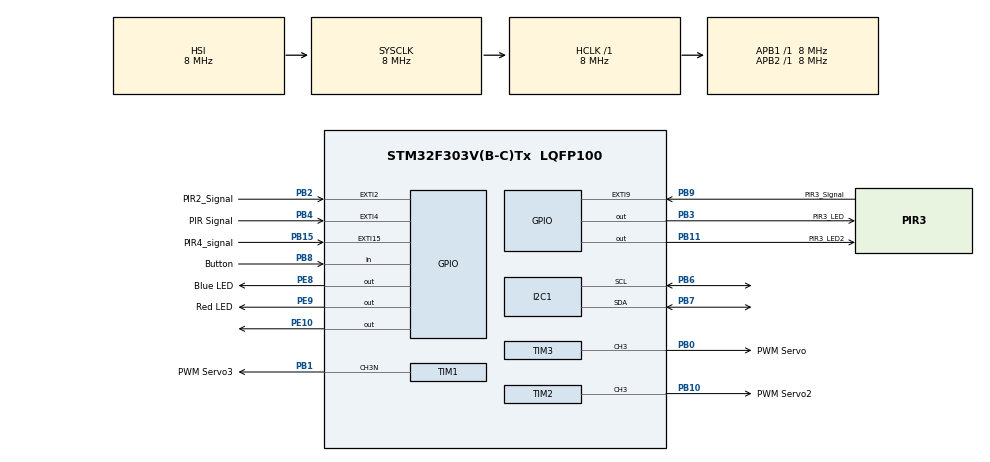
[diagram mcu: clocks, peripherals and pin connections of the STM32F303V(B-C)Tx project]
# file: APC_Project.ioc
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Mcu.Family=STM32F3
Mcu.Name=STM32F303V(B-C)Tx
Mcu.Package=LQFP100
NVIC.EXTI15_10_IRQn=true\:0\:0\:false\:false\:true\:true\:true\:true
NVIC.EXTI2_TSC_IRQn=true\:0\:0\:false\:false\:true\:true\:true\:true
NVIC.EXTI4_IRQn=true\:0\:0\:false\:false\:true\:true\:true\:true
NVIC.EXTI9_5_IRQn=true\:0\:0\:false\:false\:true\:true\:true\:true
NVIC.PriorityGroup=NVIC_PRIORITYGROUP_4
NVIC.TIM4_IRQn=true\:0\:0\:false\:false\:true\:true\:true\:true
NVIC.TIM6_DAC_IRQn=true\:0\:0\:false\:false\:true\:true\:true\:true
PB0.GPIO_Label=PWM Servo
PB0.Signal=S_TIM3_CH3
PB1.GPIO_Label=PWM Servo3
PB1.Mode=PWM Generation3 CH3N
PB1.Signal=TIM1_CH3N
PB10.GPIO_Label=PWM Servo2
PB10.Signal=S_TIM2_CH3
PB11.GPIO_Label=PIR3_LED2
PB11.Signal=GPIO_Output
PB15.GPIO_Label=PIR4_signal
PB15.Signal=GPXTI15
PB2.GPIO_Label=PIR2_Signal
PB2.Signal=GPXTI2
PB3.GPIO_Label=PIR3_LED
PB3.Signal=GPIO_Output
PB4.GPIO_Label=PIR Signal
PB4.Signal=GPXTI4
PB6.Mode=I2C
PB6.Signal=I2C1_SCL
PB7.Mode=I2C
PB7.Signal=I2C1_SDA
PB8.GPIO_Label=Button
PB8.GPIO_PuPd=GPIO_PULLUP
PB8.Signal=GPIO_Input
PB9.GPIO_Label=PIR3_Signal
PB9.GPIO_PuPd=GPIO_NOPULL
PB9.Signal=GPXTI9
PE10.Signal=GPIO_Output
PE8.GPIO_Label=Blue LED
PE8.GPIO_PuPd=GPIO_NOPULL
PE8.Signal=GPIO_Output
PE9.GPIO_Label=Red LED
PE9.Signal=GPIO_Output
ProjectManager.HeapSize=0x200
ProjectManager.StackSize=0x400
ProjectManager.TargetToolchain=STM32CubeIDE
RCC.AHBFreq_Value=8000000
RCC.APB1Freq_Value=8000000
RCC.APB2Freq_Value=8000000
RCC.CortexFreq_Value=8000000
RCC.HSE_VALUE=8000000
RCC.HSI_VALUE=8000000
RCC.LSE_VALUE=32768
RCC.SYSCLKFreq_VALUE=8000000
SH.S_TIM2_CH3.0=TIM2_CH3,PWM Generation3 CH3
SH.S_TIM3_CH3.0=TIM3_CH3,PWM Generation3 CH3
TIM1.Channel-PWM\ Generation3\ CH3N=TIM_CHANNEL_3
TIM1.Period=19999
TIM1.Prescaler=7
TIM2.Channel-PWM\ Generation3\ CH3=TIM_CHANNEL_3
TIM2.Period=19999
TIM2.Prescaler=7
TIM2.Pulse-PWM\ Generation3\ CH3=1000
TIM3.Channel-PWM\ Generation3\ CH3=TIM_CHANNEL_3
TIM3.Period=19999
TIM3.Prescaler=7
TIM3.Pulse-PWM\ Generation3\ CH3=1500
TIM4.AutoReloadPreload=TIM_AUTORELOAD_PRELOAD_ENABLE
TIM4.Period=1999
TIM4.Prescaler=7999
TIM6.Period=999
TIM6.Prescaler=199
VP_TIM3_VS_ClockSourceINT.Mode=Internal
VP_TIM4_VS_ClockSourceINT.Mode=Internal
VP_TIM6_VS_ClockSourceINT.Mode=Enable_Timer
board=custom

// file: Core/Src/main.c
/* USER CODE BEGIN Header */
/**
 ******************************************************************************
 * @file           : main.c
 * @brief          : Main program body - Museum Access Control System
 * @description    : This project implements an automated ticketing and access
 *                   control system for a museum using PIR motion sensors,
 *                   servo motors for turnstiles/gates, OLED display for user
 *                   feedback, LEDs for status indication, and a push button
 *                   for ticket purchase confirmation.
 *
 * @hardware       : STM32F303VCT6 Discovery Board
 *                   - PIR1 (PB4): Entrance sensor - detects visitors approaching (polled)
 *                   - PIR2 (PB2): Entry gate sensor - confirms visitor entry (EXTI2)
 *                   - PIR3 (PB9): Ambient lighting sensor - independent (EXTI9)
 *                   - PIR4 (PB15): Exit sensor - detects visitors leaving (EXTI15)
 *                   - Servo1 (PB0/TIM3_CH3): Ticket turnstile
 *                   - Servo2 (PB10/TIM2_CH3): Entry gate
 *                   - Servo3 (PB1/TIM1_CH3N): Exit gate
 *                   - SSD1306 OLED Display (I2C1: PB6/PB7)
 *                   - Blue LED (PE8): System idle/ready
 *                   - Red LED (PE9): Transaction in progress
 *                   - Green LED (PE10): Access granted
 *                   - PIR3_LED (PB3), PIR3_LED2 (PB11): Ambient lighting
 *                   - Button (PB8): Ticket purchase confirmation
 *
 * @features       : - Visitor counter with max capacity (4 visitors)
 *                   - Automatic ticket sales blocking when museum is full
 *                   - Smooth servo motor movements for gates
 *                   - Independent ambient lighting system
 *                   - Exit gate controlled entirely by TIM6 interrupt (15ms period)
 *
 * @authors        : Leonardo Catello, Salvatore Maione, Luisa Ciniglio, Roberta Granata
 * @version        : 1.2 - Fixed TIM6 timing for exit gate
 ******************************************************************************
 */
/* USER CODE END Header */
#include "main.h"
#include "i2c.h"
#include "tim.h"
#include "gpio.h"
#include "ssd1306.h"
#include "ssd1306_fonts.h"
#include <stdio.h>
/* USER CODE BEGIN Includes */

/* External timer handles - declared in tim.c
 * htim1: PWM timer for Servo3 (exit gate) on PB1, Channel 3N
 * htim2: PWM timer for Servo2 (entry gate) on PB10, Channel 3
 * htim3: PWM timer for Servo1 (ticket turnstile) on PB0, Channel 3
 * htim4: Base timer for PIR3 LED auto-off timeout (2 seconds)
 * htim6: Base timer for Servo3 movement control (15ms period) - NON-BLOCKING */
extern TIM_HandleTypeDef htim1;
extern TIM_HandleTypeDef htim2;
extern TIM_HandleTypeDef htim4;
extern TIM_HandleTypeDef htim6;

/* USER CODE END Includes */

/* USER CODE BEGIN PD */

/* LED Pin Definitions
 * Note: GREEN_LED (PE10) is configured in gpio.c but not named in CubeMX */
#define GREEN_LED_Pin GPIO_PIN_10       // Green LED on PE10 - indicates access granted
#define GREEN_LED_GPIO_Port GPIOE

/* PIR3_LED is already defined in main.h, redefined here for local clarity */
#define PIR3_LED_Pin GPIO_PIN_3         // PIR3 ambient lighting LED on PB3
#define PIR3_LED_GPIO_Port GPIOB

/* Museum capacity configuration */
#define MAX_VISITORS 4                  // Maximum number of visitors allowed in museum

/* USER CODE END PD */

/* USER CODE BEGIN PV */

/**
 * @brief Flag set by PIR2 interrupt to indicate visitor has entered through entry gate
 * @note  Volatile because it's modified in ISR and read in main loop
 */
volatile uint8_t secondPIR_triggered = 0;

/**
 * @brief State machine for exit gate operation (controlled by TIM6 interrupt every 15ms)
 */
typedef enum {
    EXIT_GATE_IDLE = 0,
    EXIT_GATE_OPENING,
    EXIT_GATE_OPEN,
    EXIT_GATE_CLOSING
} ExitGateState_t;

volatile ExitGateState_t exit_gate_state = EXIT_GATE_IDLE;
volatile uint16_t exit_gate_timer = 0;      // Counter for 5 second wait
volatile uint8_t exit_gate_angle = 0;       // Current servo angle

/**
 * @brief Current number of visitors inside the museum
 * @note  Incremented when visitor enters (Servo2), decremented when visitor exits (Servo3)
 *        When reaches MAX_VISITORS, ticket sales are blocked
 */
volatile uint8_t visitor_count = 0;

/* USER CODE END PV */

void SystemClock_Config(void);

/* USER CODE BEGIN 0 */

/** @brief Time in seconds for user to confirm ticket purchase */
#define COUNTDOWN_TIME 10

/**
 * @brief  Sets the servo motor to a specific angle
 * @param  htim: Pointer to the timer handle controlling the servo PWM
 * @param  channel: Timer channel (TIM_CHANNEL_3 or TIM_CHANNEL_4)
 * @param  angle: Desired angle in degrees (0-180)
 * @note   Maps angle (0-180°) to pulse width (500-2500µs) for SG90 servo
 *         Standard servo timing: 500µs = 0°, 1500µs = 90°, 2500µs = 180°
 *         Timer configuration (TIM2/TIM3):
 *         - Prescaler = 7 → Timer clock = 8MHz / 8 = 1MHz
 *         - Period = 19999 → PWM period = 20ms (50Hz)
 *         - Compare values 500-2500 directly map to µs
 * @retval None
 */
void Servo_SetAngle(TIM_HandleTypeDef *htim, uint32_t channel, uint8_t angle)
{
    /* Clamp angle to valid range */
    if (angle > 180) angle = 180;

    /* Calculate pulse width: linear mapping from 0-180° to 500-2500µs
     * Formula: pulse = 500 + (angle * 2000 / 180)
     * Using integer arithmetic to avoid floating point operations */
    uint32_t pulse = 500 + (angle * 2000 / 180);

    /* Set the PWM compare value to control servo position */
    __HAL_TIM_SET_COMPARE(htim, channel, pulse);
}

/**
 * @brief  External interrupt callback for GPIO pins
 * @param  GPIO_Pin: The pin that triggered the interrupt
 * @note   Handles interrupts from:
 *         - PIR2 (PB2, GPIO_PIN_2): Entry gate passage detection
 *         - PIR3 (PB9, GPIO_PIN_9): Ambient lighting activation
 *         - PIR4 (PB15, GPIO_PIN_15): Exit gate activation (only if visitors > 0)
 *         Note: PIR1 (PB4) is handled via polling in main loop
 * @retval None
 */
void HAL_GPIO_EXTI_Callback(uint16_t GPIO_Pin)
{
    /* PIR2 (PB2) - Detects visitor passing through entry gate after ticket purchase */
    if (GPIO_Pin == GPIO_PIN_2)
    {
        secondPIR_triggered = 1;
    }

    /* PIR3 (PB9) - Independent ambient lighting sensor
     * Turns on LEDs immediately and starts timer for auto-off */
    else if (GPIO_Pin == GPIO_PIN_9)
    {
        /* Turn on both ambient lighting LEDs */
        HAL_GPIO_WritePin(PIR3_LED_GPIO_Port, PIR3_LED_Pin, GPIO_PIN_SET);
        HAL_GPIO_WritePin(PIR3_LED2_GPIO_Port, PIR3_LED2_Pin, GPIO_PIN_SET);

        /* Reset and start TIM4 for LED timeout
         * TIM4 config: Prescaler=7999, Period=1999 → 2 second timeout
         * Calculation: 8MHz / 8000 = 1kHz; 2000 ticks / 1kHz = 2s */
        __HAL_TIM_SET_COUNTER(&htim4, 0);
        HAL_TIM_Base_Start_IT(&htim4);
    }

    /* PIR4 (PB15) - Exit sensor - activates exit gate servo ONLY IF VISITORS > 0 */
    else if (GPIO_Pin == GPIO_PIN_15)
    {
        /* Only activate exit if there are visitors inside and gate is idle */
        if (visitor_count > 0 && exit_gate_state == EXIT_GATE_IDLE)
        {
            exit_gate_state = EXIT_GATE_OPENING;
            exit_gate_angle = 0;

            // Start PWM and timer interrupt for servo control
            HAL_TIMEx_PWMN_Start(&htim1, TIM_CHANNEL_3);
            __HAL_TIM_SET_COUNTER(&htim6, 0);
            HAL_TIM_Base_Start_IT(&htim6);
        }
    }
}

/**
 * @brief  Timer period elapsed callback
 * @param  htim: Pointer to the timer handle that triggered the callback
 * @note   TIM4: Used to turn off ambient lighting LEDs after timeout (2s)
 *         TIM6: Used to control exit gate servo movement (15ms interrupts)
 *               - Opening: 0° → 180° in steps of 2° (90 steps × 15ms = 1.35s)
 *               - Wait: 333 interrupts × 15ms = 5 seconds
 *               - Closing: 180° → 0° in steps of 2° (90 steps × 15ms = 1.35s)
 * @retval None
 */
void HAL_TIM_PeriodElapsedCallback(TIM_HandleTypeDef *htim)
{
    /* TIM4 callback - Turn off ambient lighting LEDs after 2 second timeout */
    if (htim->Instance == TIM4)
    {
        HAL_GPIO_WritePin(PIR3_LED_GPIO_Port, PIR3_LED_Pin, GPIO_PIN_RESET);
        HAL_GPIO_WritePin(PIR3_LED2_GPIO_Port, PIR3_LED2_Pin, GPIO_PIN_RESET);
        HAL_TIM_Base_Stop_IT(&htim4);
    }

    /* TIM6 callback - Control exit gate servo movement (called every 15ms)
     * TIM6 Configuration: Prescaler=119, Period=999
     * Timer frequency: 8MHz / 120 = 66.67kHz
     * Interrupt period: 1000 / 66.67kHz = 15ms */
    else if (htim->Instance == TIM6)
    {
        switch (exit_gate_state)
        {
            case EXIT_GATE_IDLE:
                // Nothing to do - waiting for PIR4 trigger
                break;

            case EXIT_GATE_OPENING:
                // Gradually open gate: 0° → 180° in 2° steps
                exit_gate_angle += 2;
                if (exit_gate_angle >= 180)
                {
                    exit_gate_angle = 180;
                    exit_gate_state = EXIT_GATE_OPEN;
                    exit_gate_timer = 0;  // Reset counter for 5 second wait
                }
                Servo_SetAngle(&htim1, TIM_CHANNEL_3, exit_gate_angle);
                break;

            case EXIT_GATE_OPEN:
                // Wait 5 seconds with gate fully open
                exit_gate_timer++;
                if (exit_gate_timer >= 333)  // 333 × 15ms = 4995ms ≈ 5 seconds
                {
                    exit_gate_state = EXIT_GATE_CLOSING;
                }
                break;

            case EXIT_GATE_CLOSING:
                // Gradually close gate: 180° → 0° in 2° steps
                if (exit_gate_angle >= 2)
                {
                    exit_gate_angle -= 2;
                    Servo_SetAngle(&htim1, TIM_CHANNEL_3, exit_gate_angle);
                }
                else
                {
                    // Gate fully closed
                    exit_gate_angle = 0;
                    Servo_SetAngle(&htim1, TIM_CHANNEL_3, 0);
                    HAL_TIMEx_PWMN_Stop(&htim1, TIM_CHANNEL_3);
                    HAL_TIM_Base_Stop_IT(&htim6);  // Stop timer interrupt

                    // Decrement visitor counter
                    if (visitor_count > 0)
                    {
                        visitor_count--;
                    }

                    exit_gate_state = EXIT_GATE_IDLE;
                }
                break;
        }
    }
}

/**
 * @brief  Updates the display with current visitor count
 * @param  buffer: Character buffer for sprintf formatting
 * @retval None
 */
void Update_Display_Idle(char *buffer)
{
    ssd1306_Fill(Black);
    ssd1306_SetCursor(20, 5);
    ssd1306_WriteString("MUSEUM", Font_11x18, White);

    if (visitor_count >= MAX_VISITORS)
    {
        ssd1306_SetCursor(35, 28);
        ssd1306_WriteString("FULL", Font_11x18, White);
    }
    else
    {
        ssd1306_SetCursor(15, 28);
        ssd1306_WriteString("Welcome!", Font_11x18, White);
    }

    sprintf(buffer, "Visitors: %d/%d", visitor_count, MAX_VISITORS);
    ssd1306_SetCursor(15, 50);
    ssd1306_WriteString(buffer, Font_7x10, White);
    ssd1306_UpdateScreen();
}

/* USER CODE END 0 */

int main(void)
{

  /* USER CODE BEGIN 1 */
  uint8_t confirmed = 0;      /* Flag to track if ticket was confirmed */
  char buffer[32];            /* Buffer for sprintf display formatting */
  uint8_t last_visitor_count = 0; /* Track changes in visitor count */
  /* USER CODE END 1 */

  /* MCU Configuration--------------------------------------------------------*/

  /* Reset of all peripherals, Initializes the Flash interface and the Systick. */
  HAL_Init();

  /* Configure the system clock */
  SystemClock_Config();

  /* Initialize all configured peripherals */
  MX_GPIO_Init();
  MX_TIM3_Init();
  MX_I2C1_Init();
  MX_TIM2_Init();
  MX_TIM4_Init();
  MX_TIM1_Init();
  MX_TIM6_Init();
  /* USER CODE BEGIN 2 */

  /* ========== OLED Display Initialization ========== */
  ssd1306_Init();
  Update_Display_Idle(buffer);

  /* ========== LED Initial State ========== */
  /* Blue LED ON = System ready and waiting for visitors */
  HAL_GPIO_WritePin(GPIOE, Blue_LED_Pin, GPIO_PIN_SET);
  HAL_GPIO_WritePin(GPIOE, Red_LED_Pin, GPIO_PIN_RESET);
  HAL_GPIO_WritePin(GREEN_LED_GPIO_Port, GREEN_LED_Pin, GPIO_PIN_RESET);
  HAL_GPIO_WritePin(PIR3_LED_GPIO_Port, PIR3_LED_Pin, GPIO_PIN_RESET);
  HAL_GPIO_WritePin(PIR3_LED2_GPIO_Port, PIR3_LED2_Pin, GPIO_PIN_RESET);

  /* ========== Servo Motors Initialization ========== */
  /* Initialize Servo1 (ticket turnstile) to closed position (0°) - TIM3_CH3 */
  HAL_TIM_PWM_Start(&htim3, TIM_CHANNEL_3);
  Servo_SetAngle(&htim3, TIM_CHANNEL_3, 0);
  HAL_TIM_PWM_Stop(&htim3, TIM_CHANNEL_3);

  /* Initialize Servo2 (entry gate) to closed position (0°) - TIM2_CH3 */
  HAL_TIM_PWM_Start(&htim2, TIM_CHANNEL_3);
  Servo_SetAngle(&htim2, TIM_CHANNEL_3, 0);
  HAL_TIM_PWM_Stop(&htim2, TIM_CHANNEL_3);

  /* Initialize Servo3 (exit gate) to closed position (0°) - TIM1_CH3N */
  HAL_TIMEx_PWMN_Start(&htim1, TIM_CHANNEL_3);
  Servo_SetAngle(&htim1, TIM_CHANNEL_3, 0);
  HAL_TIMEx_PWMN_Stop(&htim1, TIM_CHANNEL_3);

  /* USER CODE END 2 */

  /* Infinite loop */
  /* USER CODE BEGIN WHILE */
  while (1)
  {

      /* ================================================================
       * ENTRANCE PIR SENSOR (PIR1 on PB4) - VISITOR DETECTION
       * ================================================================
       * This sensor is polled (not interrupt-driven) because the system
       * needs to be in idle state to start a new ticket transaction.
       *
       * Flow: Detect visitor -> Check capacity -> Show countdown
       *       -> Wait for button press -> If confirmed: open turnstile
       *       -> Wait for PIR2 -> Open entry gate -> Increment counter
       *       -> Return to idle
       * ================================================================ */

      GPIO_PinState pirState = HAL_GPIO_ReadPin(PIR_Signal_GPIO_Port, PIR_Signal_Pin);

      if (pirState == GPIO_PIN_SET)
      {
          /* ---------- Check Museum Capacity ---------- */
          if (visitor_count >= MAX_VISITORS)
          {
              /* Museum is full - display warning message */
              HAL_GPIO_WritePin(GPIOE, Red_LED_Pin, GPIO_PIN_SET);
              HAL_GPIO_WritePin(GPIOE, Blue_LED_Pin, GPIO_PIN_RESET);

              ssd1306_Fill(Black);
              ssd1306_SetCursor(20, 5);
              ssd1306_WriteString("MUSEUM", Font_11x18, White);
              ssd1306_SetCursor(35, 28);
              ssd1306_WriteString("FULL", Font_11x18, White);
              ssd1306_SetCursor(15, 50);
              ssd1306_WriteString("Please wait...", Font_7x10, White);
              ssd1306_UpdateScreen();

              HAL_Delay(3000);

              /* Return to idle with full status */
              HAL_GPIO_WritePin(GPIOE, Red_LED_Pin, GPIO_PIN_RESET);
              HAL_GPIO_WritePin(GPIOE, Blue_LED_Pin, GPIO_PIN_SET);

              Update_Display_Idle(buffer);
          }
          else
          {
              /* ---------- Visitor Detected - Start Ticket Process ---------- */
              /* Red LED ON = Transaction in progress */
              HAL_GPIO_WritePin(GPIOE, Red_LED_Pin, GPIO_PIN_SET);
              HAL_GPIO_WritePin(GPIOE, Blue_LED_Pin, GPIO_PIN_RESET);
              HAL_GPIO_WritePin(GREEN_LED_GPIO_Port, GREEN_LED_Pin, GPIO_PIN_RESET);

              /* Display welcome message */
              ssd1306_Fill(Black);
              ssd1306_SetCursor(15, 5);
              ssd1306_WriteString("Welcome!", Font_11x18, White);
              ssd1306_SetCursor(5, 30);
              ssd1306_WriteString("Press button to", Font_7x10, White);
              ssd1306_SetCursor(5, 45);
              ssd1306_WriteString("buy ticket", Font_7x10, White);
              ssd1306_UpdateScreen();

              confirmed = 0;

              /* ---------- Countdown Timer with Button Check ---------- */
              /* Visitor has COUNTDOWN_TIME seconds to press the button */
              for (int t = COUNTDOWN_TIME; t >= 0; t--)
              {
                  /* Update countdown display */
                  ssd1306_Fill(Black);
                  ssd1306_SetCursor(5, 5);
                  ssd1306_WriteString("Purchase in:", Font_7x10, White);

                  sprintf(buffer, "%2d sec", t);
                  ssd1306_SetCursor(40, 28);
                  ssd1306_WriteString(buffer, Font_11x18, White);

                  sprintf(buffer, "Visitors: %d/%d", visitor_count, MAX_VISITORS);
                  ssd1306_SetCursor(15, 50);
                  ssd1306_WriteString(buffer, Font_7x10, White);
                  ssd1306_UpdateScreen();

                  /* Check if confirmation button (PB8) is pressed (active low with pull-up) */
                  if (HAL_GPIO_ReadPin(GPIOB, GPIO_PIN_8) == GPIO_PIN_RESET)
                  {
                      confirmed = 1;
                      break;
                  }

                  /* Wait 1 second - Exit gate works independently via TIM6 interrupt */
                  HAL_Delay(1000);
              }

              if (confirmed)
              {
                  /* ========== TICKET CONFIRMED - BEGIN ENTRY SEQUENCE ========== */

                  /* Display ticket purchased message */
                  ssd1306_Fill(Black);
                  ssd1306_SetCursor(10, 10);
                  ssd1306_WriteString("Ticket", Font_11x18, White);
                  ssd1306_SetCursor(10, 35);
                  ssd1306_WriteString("Purchased!", Font_11x18, White);
                  ssd1306_UpdateScreen();

                  HAL_Delay(2000);

                  /* ---------- SERVO 1 (TIM3_CH3): Ticket Turnstile ---------- */
                  ssd1306_Fill(Black);
                  ssd1306_SetCursor(20, 20);
                  ssd1306_WriteString("Please", Font_11x18, White);
                  ssd1306_SetCursor(10, 45);
                  ssd1306_WriteString("proceed...", Font_11x18, White);
                  ssd1306_UpdateScreen();

                  __HAL_TIM_SET_COMPARE(&htim3, TIM_CHANNEL_3, 1000);
                  HAL_TIM_PWM_Start(&htim3, TIM_CHANNEL_3);

                  /* Smooth opening motion: 0° -> 180° (step 2°, 15ms delay) */
                  for (int angolo = 0; angolo <= 180; angolo += 2)
                  {
                      Servo_SetAngle(&htim3, TIM_CHANNEL_3, angolo);
                      HAL_Delay(15);
                  }

                  /* Keep turnstile open for 5 seconds */
                  HAL_Delay(5000);

                  /* Smooth closing motion: 180° -> 0° */
                  for (int angolo = 180; angolo >= 0; angolo -= 2)
                  {
                      Servo_SetAngle(&htim3, TIM_CHANNEL_3, angolo);
                      HAL_Delay(15);
                  }

                  HAL_TIM_PWM_Stop(&htim3, TIM_CHANNEL_3);

                  /* ---------- Wait for Visitor to Pass Through (PIR2 on PB2) ---------- */
                  ssd1306_Fill(Black);
                  ssd1306_SetCursor(20, 20);
                  ssd1306_WriteString("Please", Font_11x18, White);
                  ssd1306_SetCursor(25, 45);
                  ssd1306_WriteString("wait...", Font_11x18, White);
                  ssd1306_UpdateScreen();

                  /* Disable EXTI4 (PIR1) to prevent new transactions during wait */
                  HAL_NVIC_DisableIRQ(EXTI4_IRQn);

                  /* Clear flag and wait for PIR2 interrupt */
                  secondPIR_triggered = 0;
                  while (!secondPIR_triggered)
                  {
                      HAL_Delay(100);
                  }

                  /* ---------- Entry Detected - Open Entry Gate ---------- */
                  /* Green LED ON = Access granted */
                  HAL_GPIO_WritePin(GPIOE, Red_LED_Pin, GPIO_PIN_RESET);
                  HAL_GPIO_WritePin(GPIOE, Blue_LED_Pin, GPIO_PIN_RESET);
                  HAL_GPIO_WritePin(GREEN_LED_GPIO_Port, GREEN_LED_Pin, GPIO_PIN_SET);

                  /* Display access granted message */
                  ssd1306_Fill(Black);
                  ssd1306_SetCursor(30, 10);
                  ssd1306_WriteString("Access", Font_11x18, White);
                  ssd1306_SetCursor(20, 35);
                  ssd1306_WriteString("Granted!", Font_11x18, White);
                  ssd1306_UpdateScreen();

                  HAL_Delay(2000);

                  /* Display gate opening message */
                  ssd1306_Fill(Black);
                  ssd1306_SetCursor(25, 20);
                  ssd1306_WriteString("Entry", Font_11x18, White);
                  ssd1306_SetCursor(15, 45);
                  ssd1306_WriteString("opening...", Font_11x18, White);
                  ssd1306_UpdateScreen();

                  /* ---------- SERVO 2 (TIM2_CH3): Entry Gate ---------- */
                  __HAL_TIM_SET_COMPARE(&htim2, TIM_CHANNEL_3, 1000);
                  HAL_TIM_PWM_Start(&htim2, TIM_CHANNEL_3);

                  /* Smooth opening motion: 0° -> 180° */
                  for (int angolo = 0; angolo <= 180; angolo += 2)
                  {
                      Servo_SetAngle(&htim2, TIM_CHANNEL_3, angolo);
                      HAL_Delay(15);
                  }

                  /* Keep entry gate open for 5 seconds */
                  HAL_Delay(5000);

                  /* Smooth closing motion: 180° -> 0° */
                  for (int angolo = 180; angolo >= 0; angolo -= 2)
                  {
                      Servo_SetAngle(&htim2, TIM_CHANNEL_3, angolo);
                      HAL_Delay(15);
                  }

                  HAL_TIM_PWM_Stop(&htim2, TIM_CHANNEL_3);

                  /* Increment visitor counter AFTER gate closes */
                  visitor_count++;
                  last_visitor_count = visitor_count;

                  /* Display welcome message with updated counter */
                  ssd1306_Fill(Black);
                  ssd1306_SetCursor(25, 10);
                  ssd1306_WriteString("Enjoy", Font_11x18, White);
                  ssd1306_SetCursor(10, 35);
                  ssd1306_WriteString("your visit!", Font_11x18, White);
                  ssd1306_UpdateScreen();

                  HAL_Delay(2000);

                  /* Re-enable EXTI4 interrupt (PIR1) */
                  HAL_NVIC_EnableIRQ(EXTI4_IRQn);
              }
              else
              {
                  /* ========== TIMEOUT - TICKET NOT PURCHASED ========== */
                  ssd1306_Fill(Black);
                  ssd1306_SetCursor(10, 10);
                  ssd1306_WriteString("Purchase", Font_11x18, White);
                  ssd1306_SetCursor(10, 35);
                  ssd1306_WriteString("Cancelled", Font_11x18, White);
                  ssd1306_UpdateScreen();

                  /* Blue LED ON = Back to idle state */
                  HAL_GPIO_WritePin(GPIOE, Red_LED_Pin, GPIO_PIN_RESET);
                  HAL_GPIO_WritePin(GPIOE, Blue_LED_Pin, GPIO_PIN_SET);
                  HAL_GPIO_WritePin(GREEN_LED_GPIO_Port, GREEN_LED_Pin, GPIO_PIN_RESET);
              }

              /* Wait before returning to idle state */
              HAL_Delay(3000);

              /* ---------- Return to Idle State ---------- */
              Update_Display_Idle(buffer);

              /* Reset LEDs to idle state (Blue ON only) */
              HAL_GPIO_WritePin(GPIOE, Blue_LED_Pin, GPIO_PIN_SET);
              HAL_GPIO_WritePin(GPIOE, Red_LED_Pin, GPIO_PIN_RESET);
              HAL_GPIO_WritePin(GREEN_LED_GPIO_Port, GREEN_LED_Pin, GPIO_PIN_RESET);
          }
      }

      /* ================================================================
       * EXIT GATE HANDLER - Fully independent via TIM6 interrupt
       * ================================================================
       * PIR4 triggers exit gate (Servo3) which is controlled entirely
       * by TIM6 interrupt (every 15ms) - no manual handler needed
       * Display update for visitor count happens automatically below
       * ================================================================ */

      /* Update display only when visitor count changes (after exit) */
      if (visitor_count != last_visitor_count && pirState != GPIO_PIN_SET)
      {
          last_visitor_count = visitor_count;
          Update_Display_Idle(buffer);
      }

      /* Main loop delay - prevents excessive CPU usage during polling */
      HAL_Delay(100);

    /* USER CODE END WHILE */

  }
}

void SystemClock_Config(void)
{
  RCC_OscInitTypeDef RCC_OscInitStruct = {0};
  RCC_ClkInitTypeDef RCC_ClkInitStruct = {0};
  RCC_PeriphCLKInitTypeDef PeriphClkInit = {0};

  /** Initializes the RCC Oscillators according to the specified parameters
  * in the RCC_OscInitTypeDef structure.
  */
  RCC_OscInitStruct.OscillatorType = RCC_OSCILLATORTYPE_HSI;
  RCC_OscInitStruct.HSIState = RCC_HSI_ON;
  RCC_OscInitStruct.HSICalibrationValue = RCC_HSICALIBRATION_DEFAULT;
  RCC_OscInitStruct.PLL.PLLState = RCC_PLL_NONE;
  if (HAL_RCC_OscConfig(&RCC_OscInitStruct) != HAL_OK)
  {
    Error_Handler();
  }

  /** Initializes the CPU, AHB and APB buses clocks
  */
  RCC_ClkInitStruct.ClockType = RCC_CLOCKTYPE_HCLK|RCC_CLOCKTYPE_SYSCLK
                              |RCC_CLOCKTYPE_PCLK1|RCC_CLOCKTYPE_PCLK2;
  RCC_ClkInitStruct.SYSCLKSource = RCC_SYSCLKSOURCE_HSI;
  RCC_ClkInitStruct.AHBCLKDivider = RCC_SYSCLK_DIV1;
  RCC_ClkInitStruct.APB1CLKDivider = RCC_HCLK_DIV1;
  RCC_ClkInitStruct.APB2CLKDivider = RCC_HCLK_DIV1;

  if (HAL_RCC_ClockConfig(&RCC_ClkInitStruct, FLASH_LATENCY_0) != HAL_OK)
  {
    Error_Handler();
  }
  PeriphClkInit.PeriphClockSelection = RCC_PERIPHCLK_I2C1|RCC_PERIPHCLK_TIM1;
  PeriphClkInit.I2c1ClockSelection = RCC_I2C1CLKSOURCE_HSI;
  PeriphClkInit.Tim1ClockSelection = RCC_TIM1CLK_HCLK;
  if (HAL_RCCEx_PeriphCLKConfig(&PeriphClkInit) != HAL_OK)
  {
    Error_Handler();
  }
}

void Error_Handler(void)
{
  /* USER CODE BEGIN Error_Handler_Debug */
  /* User can add his own implementation to report the HAL error return state */
  __disable_irq();
  while (1)
  {
    /* Stay here indefinitely - system halted due to error */
  }
  /* USER CODE END Error_Handler_Debug */
}
